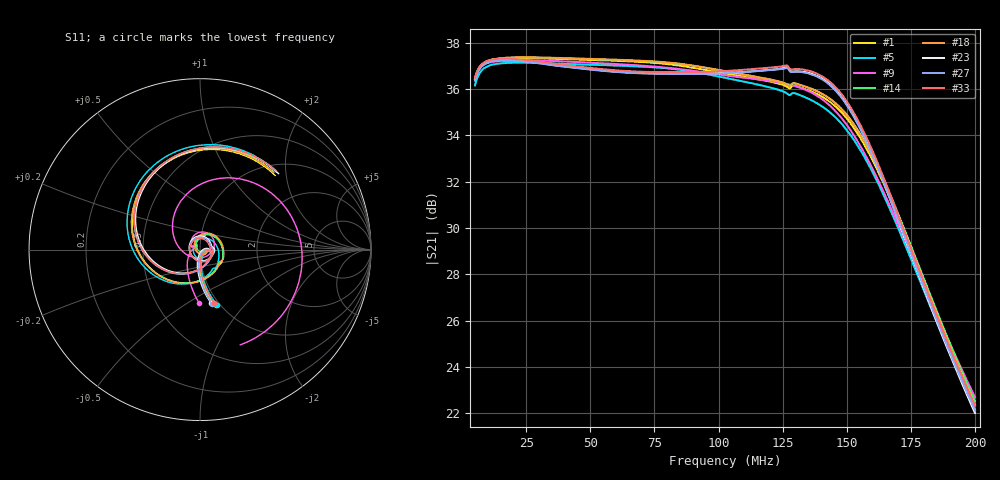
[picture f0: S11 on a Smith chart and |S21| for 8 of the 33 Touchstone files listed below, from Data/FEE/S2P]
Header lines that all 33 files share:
# Hz S DB R 50
! Data: Format (Calibration Info)
! Freq	S11:dB/Ang(F2)	S21:dB/Ang(F2)	S12:dB/Ang(F2)	S22:dB/Ang(F2)
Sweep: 5 MHz to 200 MHz
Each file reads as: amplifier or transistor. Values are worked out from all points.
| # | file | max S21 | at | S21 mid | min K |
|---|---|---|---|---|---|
| 1 | SN0273-A_26Feb2023.2205.s2p | 37.3 dB | 23.14 MHz | 36.7 dB at 102.5 MHz | 1.76 |
| 2 | SN0340-B_08Oct2022.1706.s2p | 37.1 dB | 17.09 MHz | 36.4 dB at 102.5 MHz | 1.77 |
| 3 | SN0340-B_27Feb2023.0055.s2p | 37.2 dB | 17.09 MHz | 36.6 dB at 102.5 MHz | 1.73 |
| 4 | SN0451-A_08Oct2022.1651.s2p | 37.1 dB | 24.5 MHz | 36.3 dB at 102.5 MHz | 1.80 |
| 5 | SN0451-A_26Feb2023.2135.s2p | 37.1 dB | 21.38 MHz | 36.5 dB at 102.5 MHz | 1.77 |
| 6 | SN0531-B_08Oct2022.1658.s2p | 36.9 dB | 16.31 MHz | 36.2 dB at 102.5 MHz | 1.79 |
| 7 | SN0531-B_27Feb2023.0030.s2p | 37.0 dB | 16.31 MHz | 36.4 dB at 102.5 MHz | 1.75 |
| 8 | SN0715-A_26Feb2023.2218.s2p | 37.3 dB | 24.7 MHz | 36.7 dB at 102.5 MHz | 1.76 |
| 9 | SN0738-A_08Oct2022.1744.s2p | 37.2 dB | 22.55 MHz | 36.6 dB at 102.5 MHz | 1.79 |
| 10 | SN0738-A_26Feb2023.2146.s2p | 37.4 dB | 22.94 MHz | 36.8 dB at 102.5 MHz | 1.76 |
| 11 | SN0763-A_08Oct2022.1907.s2p | 37.2 dB | 27.43 MHz | 36.5 dB at 102.5 MHz | 1.80 |
| 12 | SN0763-A_26Feb2023.2157.s2p | 37.4 dB | 23.33 MHz | 36.7 dB at 102.5 MHz | 1.76 |
| 13 | SN0789-A_08Oct2022.1827.s2p | 37.2 dB | 24.5 MHz | 36.6 dB at 102.5 MHz | 1.79 |
| 14 | SN0789-A_26Feb2023.2201.s2p | 37.4 dB | 23.72 MHz | 36.8 dB at 102.5 MHz | 1.75 |
| 15 | SN0813-A_26Feb2023.2150.s2p | 37.4 dB | 23.14 MHz | 36.8 dB at 102.5 MHz | 1.75 |
| 16 | SN0819-A_08Oct2022.1849.s2p | 37.2 dB | 26.25 MHz | 36.6 dB at 102.5 MHz | 1.78 |
| 17 | SN0819-A_26Feb2023.2209.s2p | 37.3 dB | 22.36 MHz | 36.7 dB at 102.5 MHz | 1.75 |
| 18 | SN0820-A_26Feb2023.2141.s2p | 37.4 dB | 24.89 MHz | 36.8 dB at 102.5 MHz | 1.76 |
| 19 | SN0839-A_08Oct2022.1844.s2p | 37.2 dB | 24.5 MHz | 36.5 dB at 102.5 MHz | 1.79 |
| 20 | SN0839-A_26Feb2023.2214.s2p | 37.4 dB | 26.45 MHz | 36.7 dB at 102.5 MHz | 1.76 |
| 21 | SN0856-B_27Feb2023.0039.s2p | 37.2 dB | 15.92 MHz | 36.7 dB at 102.5 MHz | 1.74 |
| 22 | SN0860-B_08Oct2022.1813.s2p | 37.1 dB | 15.92 MHz | 36.4 dB at 102.5 MHz | 1.78 |
| 23 | SN0860-B_27Feb2023.0107.s2p | 37.3 dB | 16.5 MHz | 36.7 dB at 102.5 MHz | 1.74 |
| 24 | SN0905-B_08Oct2022.1732.s2p | 37.2 dB | 15.92 MHz | 36.6 dB at 102.5 MHz | 1.77 |
| 25 | SN0905-B_27Feb2023.0043.s2p | 37.4 dB | 16.5 MHz | 36.8 dB at 102.5 MHz | 1.73 |
| 26 | SN0906-B_08Oct2022.1832.s2p | 37.1 dB | 16.31 MHz | 36.4 dB at 102.5 MHz | 1.78 |
| 27 | SN0906-B_27Feb2023.0051.s2p | 37.2 dB | 16.31 MHz | 36.7 dB at 102.5 MHz | 1.74 |
| 28 | SN0934-B_27Feb2023.0047.s2p | 37.3 dB | 15.92 MHz | 36.7 dB at 102.5 MHz | 1.75 |
| 29 | SN0952-B_08Oct2022.1804.s2p | 37.1 dB | 16.31 MHz | 36.4 dB at 102.5 MHz | 1.78 |
| 30 | SN0952-B_27Feb2023.0035.s2p | 37.2 dB | 15.72 MHz | 36.6 dB at 102.5 MHz | 1.74 |
| 31 | SN0969-B_08Oct2022.1854.s2p | 37.1 dB | 16.31 MHz | 36.4 dB at 102.5 MHz | 1.79 |
| 32 | SN0969-B_27Feb2023.0059.s2p | 37.3 dB | 15.53 MHz | 36.7 dB at 102.5 MHz | 1.74 |
| 33 | SN0971-B_27Feb2023.0103.s2p | 37.3 dB | 16.7 MHz | 36.8 dB at 102.5 MHz | 1.74 |
